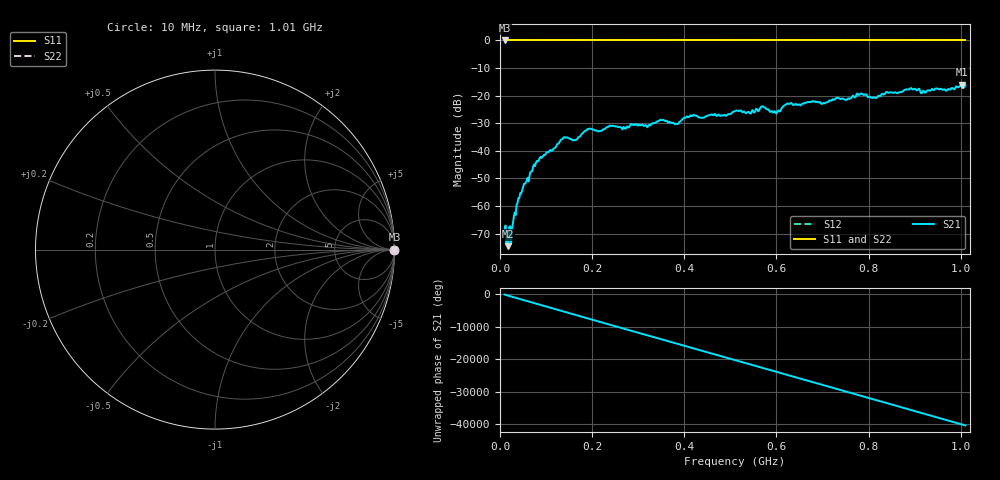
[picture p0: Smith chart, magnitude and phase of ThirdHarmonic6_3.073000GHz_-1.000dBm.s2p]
! 8/17/2025 8:59:24 AM
! C:\ANRITSUVNA\TEMP\TEMP.S2P
! CHANNEL.1
! TR.MEASUREMENT
! RAW.DATA
! RF.CORRECTION.OFF
! AVERAGING.OFF
! IF.BANDWIDTH: 5KHZ
! SWEEPTYPE:  FREQ.SWEEP(Linear)
! Reference Plane Port Info
! PORT:  PORT1  PORT2
! DISTANCE:  0  m  0  m
! TIME:  0  s  0  s
! PHASE.OFFSET:  0  deg.  0  deg.
! LOSS:  0  dB  0  dB
! REF.LOSS:  0  dB  0  dB
! REF.FREQ:  0  Hz  0  Hz
! Power Info
! POWER:  -20  dBm  -20  dBm
! EFF.POWER:  -20  dBm  -20  dBm
! SOURCE.ATTEN:  0  dB  0  dB
! TEST.ATTEN:  0  dB  0  dB
# GHZ S RI R 50.0
! FREQ.GHZ  S11RE  S11IM  S21RE  S21IM  S12RE  S12IM  S22RE  S22IM
!; PortSelection: Port_12
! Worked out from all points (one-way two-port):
!   501 points, 10 MHz to 1.01 GHz, reference 50 ohm
!   highest |S21| = -16.02 dB at 1.002 GHz (marker M1); lowest = -74.5 dB at 18 MHz (marker M2)
!   lowest |S11| = 0.0 dB at 10 MHz (marker M3)
!   |S11| at or under -10 dB: nowhere
!   |S22| runs from 0.0 to 0.0 dB; largest |S21 - S12| = 1.1
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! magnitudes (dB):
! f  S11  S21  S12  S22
! 10 MHz  0.0  -69.6  0.0  0.0
! 18 MHz  0.0  -74.5  0.0  0.0
! 28 MHz  0.0  -66.4  0.0  0.0
! 40 MHz  0.0  -57.1  0.0  0.0
! 76 MHz  0.0  -45.5  0.0  0.0
! 136 MHz  0.0  -35.6  0.0  0.0
! 162 MHz  0.0  -36.0  0.0  0.0
! 178 MHz  0.0  -33.7  0.0  0.0
! 194 MHz  0.0  -32.0  0.0  0.0
! 322 MHz  0.0  -30.8  0.0  0.0
! 344 MHz  0.0  -29.3  0.0  0.0
! 382 MHz  0.0  -30.2  0.0  0.0
! 416 MHz  0.0  -27.5  0.0  0.0
! 510 MHz  0.0  -25.6  0.0  0.0
! 570 MHz  0.0  -23.8  0.0  0.0
! 596 MHz  0.0  -25.6  0.0  0.0
! 622 MHz  0.0  -23.0  0.0  0.0
! 678 MHz  0.0  -22.2  0.0  0.0
! 814 MHz  0.0  -20.8  0.0  0.0
! 844 MHz  0.0  -19.0  0.0  0.0
! 1.002 GHz  0.0  -16.0  0.0  0.0
! 1.01 GHz  0.0  -16.2  0.0  0.0
